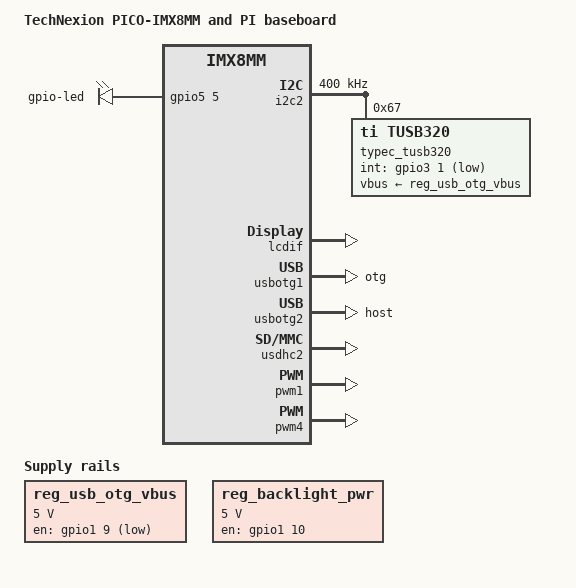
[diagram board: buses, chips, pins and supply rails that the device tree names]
// SPDX-License-Identifier: (GPL-2.0+ OR MIT)
/*
 * Copyright 2020 Technexion Ltd.
 *
 * Author: Richard Hu <richard.hu@technexion.com>
 *
 */

/dts-v1/;

#include "imx8mm-pico.dtsi"

/ {
	model = "TechNexion PICO-IMX8MM and PI baseboard";
	compatible = "fsl,imx8mm-pico", "fsl,imx8mm";

	regulators {
		compatible = "simple-bus";
		#address-cells = <1>;
		#size-cells = <0>;

		reg_usb_otg_vbus: usb_otg_vbus {
			pinctrl-names = "default";
			pinctrl-0 = <&pinctrl_otg_vbus>;
			compatible = "regulator-fixed";
			regulator-name = "usb_otg_vbus";
			regulator-min-microvolt = <5000000>;
			regulator-max-microvolt = <5000000>;
			gpio = <&gpio1 9 GPIO_ACTIVE_LOW>;
			enable-active-low;
		};

		reg_backlight_pwr: regulator_blpwr {
			pinctrl-names = "default";
			pinctrl-0 = <&pinctrl_backlight_pwr>;
			compatible = "regulator-fixed";
			regulator-name = "backlight_pwr";
			regulator-min-microvolt = <5000000>;
			regulator-max-microvolt = <5000000>;
			gpio = <&gpio1 10 GPIO_ACTIVE_HIGH>;
			enable-active-high;
		};
	};

	backlight_mipi {
		compatible = "pwm-backlight";
		pwms = <&pwm1 0 50000 0>;
		brightness-levels = <0 36 72 108 144 180 216 255>;
		default-brightness-level = <6>;
		power-supply = <&reg_backlight_pwr>;
		status = "disabled";
	};

	leds {
		compatible = "gpio-leds";
		pinctrl-names = "default";
		pinctrl-0 = <&pinctrl_gpio_led>;

		led {
			label = "gpio-led";
			gpios = <&gpio5 5 GPIO_ACTIVE_HIGH>;
		};
	};
};

&iomuxc {
	pinctrl_otg_vbus: otgvbusgrp {
		fsl,pins = <
			MX8MM_IOMUXC_GPIO1_IO09_GPIO1_IO9		0x19   /* USB OTG VBUS Enable */
		>;
	};
	pinctrl_backlight_pwr: backlight_pwrgrp {
		fsl,pins = <
			MX8MM_IOMUXC_GPIO1_IO10_GPIO1_IO10		0x19
		>;
	};
	pinctrl_dsi_pwm: dsi_pwm {
		fsl,pins = <
			MX8MM_IOMUXC_GPIO1_IO01_PWM1_OUT		0x16	/* DSI PWM */
		>;
	};
	pinctrl_fan_pwm: fan_pwm {
		fsl,pins = <
			MX8MM_IOMUXC_SAI3_MCLK_PWM4_OUT			0x16	/* PWM for FAN */
		>;
	};
	pinctrl_tusb320_irq: tusb320_irqgrp {
		fsl,pins = <
			MX8MM_IOMUXC_NAND_CE0_B_GPIO3_IO1		0x41
		>;
	};
	pinctrl_csi_pwn: csi_pwn_grp {
		fsl,pins = <
			MX8MM_IOMUXC_ECSPI2_MOSI_GPIO5_IO11		0x19
		>;
	};
	pinctrl_csi_rst: csi_rst_grp {
		fsl,pins = <
			MX8MM_IOMUXC_GPIO1_IO05_GPIO1_IO5		0x19
			MX8MM_IOMUXC_GPIO1_IO14_CCMSRCGPCMIX_CLKO1	0x59
		>;
	};
	pinctrl_mipi_dsi_rst: mipi_dsi_rst {
		fsl,pins = <
			MX8MM_IOMUXC_NAND_DATA03_GPIO3_IO9	0x16   /* DSI RST */
		>;
	};
	pinctrl_touch_irq: touch_irqgrp {
		fsl,pins = <
			MX8MM_IOMUXC_GPIO1_IO07_GPIO1_IO7	0x19   /* Touch INT */
		>;
	};
	pinctrl_touch_rst: touch_rstgrp {
		fsl,pins = <
			MX8MM_IOMUXC_SAI3_RXFS_GPIO4_IO28	0x16   /* GPIO_P42, Touch RST */
		>;
	};
	pinctrl_gpio_led: gpioledgrp {
		fsl,pins = <
			MX8MM_IOMUXC_SPDIF_EXT_CLK_GPIO5_IO5	0x19
		>;
	};
	pinctrl_tfa98xx: tfa98xx_ctrlgrp {
		fsl,pins = <
			MX8MM_IOMUXC_ECSPI2_SCLK_GPIO5_IO10	0x19 /* RST */
			MX8MM_IOMUXC_ECSPI2_MISO_GPIO5_IO12	0x19 /* INT */
		>;
	};
	pinctrl_gpio_key_voicehat: gpiokey_voicehatgrp {
		fsl,pins = <
			MX8MM_IOMUXC_NAND_ALE_GPIO3_IO0			0x41 /* GPIO_P25, KEY_PREV */
			MX8MM_IOMUXC_SPDIF_RX_GPIO5_IO4			0x41 /* PWM2, KEY_PLAY */
			MX8MM_IOMUXC_I2C4_SCL_GPIO5_IO20		0x41 /* GPIO_P44, KEY_NEXT */
			MX8MM_IOMUXC_NAND_DATA01_GPIO3_IO7		0x41 /* GPIO_P30, KEY_UP */
			MX8MM_IOMUXC_NAND_READY_B_GPIO3_IO16		0x41 /* GPIO_P26, KEY_DOWN */
			MX8MM_IOMUXC_NAND_DATA00_GPIO3_IO6		0x41 /* GPIO_P28, KEY_MUTE */
			MX8MM_IOMUXC_ECSPI2_SS0_GPIO5_IO13		0x41 /* ECSPI2_SS0, KEY_PAIR */
			MX8MM_IOMUXC_SPDIF_TX_GPIO5_IO3			0x41 /* PWM3, KEY_ACT */
		>;
	};
};

&i2c2 {
	clock-frequency = <400000>;
	pinctrl-names = "default";
	pinctrl-0 = <&pinctrl_i2c2>;
	status = "okay";

	typec_tusb320:tusb320@67 {
		compatible = "ti,tusb320";
		pinctrl-names = "default";
		pinctrl-0 = <&pinctrl_tusb320_irq>;
		reg = <0x67>;
		vbus-supply = <&reg_usb_otg_vbus>;
		tusb320,int-gpio = <&gpio3 1 GPIO_ACTIVE_LOW>;
		tusb320,select-mode = <0>;
		tusb320,dfp-power = <0>;
	};
};

&lcdif {
	status = "okay";
};

&usbotg1 {
	dr_mode = "otg";
	extcon = <&typec_tusb320>;
	status = "okay";
};

&usbotg2 {
	dr_mode = "host";
	status = "okay";
};

/* SD card on CLIX connector */
&usdhc2 {
	status = "okay";
};

&pwm1 {
	pinctrl-names = "default";
	pinctrl-0 = <&pinctrl_dsi_pwm>;
	status = "okay";
};

&pwm4 {
	pinctrl-names = "default";
	pinctrl-0 = <&pinctrl_fan_pwm>;
	status = "okay";
};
